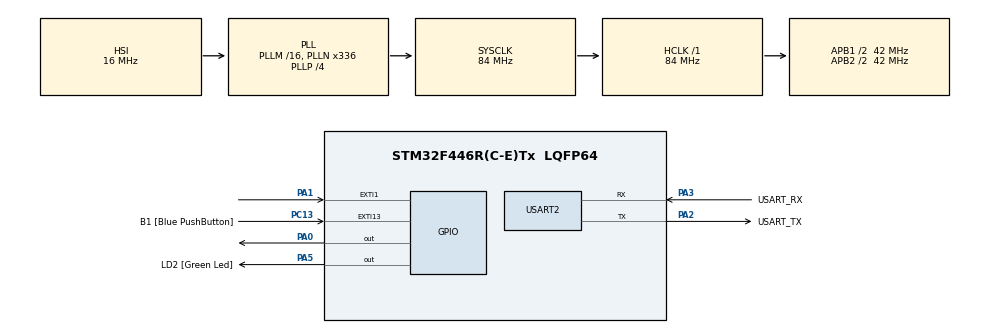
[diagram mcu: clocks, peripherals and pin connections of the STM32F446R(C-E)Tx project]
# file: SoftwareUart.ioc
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Mcu.Family=STM32F4
Mcu.Name=STM32F446R(C-E)Tx
Mcu.Package=LQFP64
NVIC.EXTI15_10_IRQn=true\:0\:0\:false\:false\:true\:true\:true
NVIC.EXTI1_IRQn=true\:0\:0\:false\:false\:true\:true\:true
NVIC.PriorityGroup=NVIC_PRIORITYGROUP_0
NVIC.TIM1_UP_TIM10_IRQn=true\:0\:0\:false\:false\:true\:true\:true
NVIC.TIM2_IRQn=true\:0\:0\:false\:false\:true\:true\:true
NVIC.USART2_IRQn=true\:0\:0\:false\:false\:true\:true\:true
PA0-WKUP.GPIO_PuPd=GPIO_NOPULL
PA0-WKUP.Signal=GPIO_Output
PA1.GPIO_ModeDefaultEXTI=GPIO_MODE_IT_FALLING
PA1.GPIO_PuPd=GPIO_PULLUP
PA1.Signal=GPXTI1
PA13.GPIO_Label=TMS
PA13.Mode=Serial_Wire
PA13.Signal=SYS_JTMS-SWDIO
PA14.GPIO_Label=TCK
PA14.Mode=Serial_Wire
PA14.Signal=SYS_JTCK-SWCLK
PA2.GPIO_Label=USART_TX
PA2.Mode=Asynchronous
PA2.Signal=USART2_TX
PA3.GPIO_Label=USART_RX
PA3.Mode=Asynchronous
PA3.Signal=USART2_RX
PA5.GPIO_Label=LD2 [Green Led]
PA5.Signal=GPIO_Output
PB3.GPIO_Label=SWO
PB3.Signal=SYS_JTDO-SWO
PC13.GPIO_Label=B1 [Blue PushButton]
PC13.GPIO_ModeDefaultEXTI=GPIO_MODE_IT_FALLING
PC13.Signal=GPXTI13
PC14-OSC32_IN.Mode=LSE-External-Oscillator
PC14-OSC32_IN.Signal=RCC_OSC32_IN
PC15-OSC32_OUT.Mode=LSE-External-Oscillator
PC15-OSC32_OUT.Signal=RCC_OSC32_OUT
PH0-OSC_IN.Mode=HSE-External-Oscillator
PH0-OSC_IN.Signal=RCC_OSC_IN
PH1-OSC_OUT.Mode=HSE-External-Oscillator
PH1-OSC_OUT.Signal=RCC_OSC_OUT
ProjectManager.HeapSize=0x200
ProjectManager.StackSize=0x400
ProjectManager.TargetToolchain=STM32CubeIDE
RCC.48MHZClocksFreq_Value=84000000
RCC.AHBFreq_Value=84000000
RCC.APB1CLKDivider=RCC_HCLK_DIV2
RCC.APB1Freq_Value=42000000
RCC.APB1TimFreq_Value=84000000
RCC.APB2CLKDivider=RCC_HCLK_DIV2
RCC.APB2Freq_Value=42000000
RCC.APB2TimFreq_Value=84000000
RCC.CortexFreq_Value=84000000
RCC.FLatency-AdvancedSettings=FLASH_LATENCY_2
RCC.HCLKFreq_Value=84000000
RCC.HSE_VALUE=8000000
RCC.HSI_VALUE=16000000
RCC.PLLN=336
RCC.PLLP=RCC_PLLP_DIV4
RCC.SYSCLKFreq_VALUE=84000000
RCC.SYSCLKSource=RCC_SYSCLKSOURCE_PLLCLK
RCC.USBFreq_Value=168000000
RCC.VCOOutputFreq_Value=336000000
TIM1.ClockDivision=TIM_CLOCKDIVISION_DIV1
TIM1.Period=6000
TIM1.Prescaler=84
TIM2.ClockDivision=TIM_CLOCKDIVISION_DIV1
TIM2.Period=6000
TIM2.Prescaler=84
USART2.Parity=PARITY_NONE
USART2.StopBits=STOPBITS_1
USART2.VirtualMode=VM_ASYNC
VP_TIM1_VS_ClockSourceINT.Mode=Internal
VP_TIM2_VS_ClockSourceINT.Mode=Internal
board=NUCLEO-F446RE

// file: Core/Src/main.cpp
/* USER CODE BEGIN Header */
/**
  ******************************************************************************
  * @file           : main.c
  * @brief          : Main program body
  ******************************************************************************
  * @attention
  *
  * Copyright (c) 2025 STMicroelectronics.
  * All rights reserved.
  *
  * This software is licensed under terms that can be found in the LICENSE file
  * in the root directory of this software component.
  * If no LICENSE file comes with this software, it is provided AS-IS.
  *
  ******************************************************************************
  */
/* USER CODE END Header */
#include "main.h"

/* USER CODE BEGIN Includes */
#include "RingBuffer.hpp"
#include "SoftUart.hpp"
//#include "Logger.hpp"
/* USER CODE END Includes */

TIM_HandleTypeDef htim1;
TIM_HandleTypeDef htim2;

UART_HandleTypeDef huart2;

void SystemClock_Config(void);
static void MX_GPIO_Init(void);
static void MX_USART2_UART_Init(void);
static void MX_TIM1_Init(void);
static void MX_TIM2_Init(void);
/* USER CODE BEGIN PFP */
#define PUTCHAR_PROTOTYPE int __io_putchar(int ch)
/* USER CODE END PFP */

/* USER CODE BEGIN 0 */
bool inputRxBitReadFunc(void);
void inputRxPinInterruptSetFunc(void);
void timerRxInitFunc(uint16_t timeout);
void timerRxStartFunc(void);
void stopRxInterruptionsFunc(void);
void outputTxBitSetFunc(bool);
void timerTxInitFunc(uint16_t timeout);
void timerTxStartFunc(void);
void timerTxStopFunc(void);
void timerRxStopFunc(void);
void loggerFunc(uint8_t byte);

SoftUart *softuart1 = new SoftUart(
        inputRxBitReadFunc,
        inputRxPinInterruptSetFunc,
        timerRxInitFunc,
        timerRxStartFunc,
        stopRxInterruptionsFunc,
        outputTxBitSetFunc,
        timerTxInitFunc,
        timerTxStartFunc,
        timerTxStopFunc,
        timerRxStopFunc
);
/* USER CODE END 0 */

int main(void)
{

  /* MCU Configuration--------------------------------------------------------*/

  /* Reset of all peripherals, Initializes the Flash interface and the Systick. */
  HAL_Init();

  /* Configure the system clock */
  SystemClock_Config();

  /* Initialize all configured peripherals */
  MX_GPIO_Init();
  MX_USART2_UART_Init();
  MX_TIM1_Init();
  MX_TIM2_Init();

  /* Infinite loop */
  /* USER CODE BEGIN WHILE */
 RingBuffer buffer;

 SoftUart::SoftUartParity_t parity = SoftUart::SOFT_UART_PARITY_ON;
 SoftUart::SoftUartSpeed_t speed = SoftUart::SOFT_UART_9600;

 //softuart1->start_rx_uart();
timerTxStopFunc();
timerRxStopFunc();

 //GPIO_PIN_RESET = 0,
  //GPIO_PIN_SET
 HAL_Delay(100);

 softuart1->uart_init(speed, parity);
 softuart1->uart_send(0b11111111);

 HAL_Delay(10);
 softuart1->start_rx_uart();
 softuart1->uart_send('1');
 HAL_Delay(10);
 softuart1->uart_send('2');
 HAL_Delay(10);
 softuart1->uart_send('f');

  while (1)
  {
      // Toggle the LD2 pin (PA5)
      //HAL_GPIO_TogglePin(GPIOA, GPIO_PIN_5);
      // Delay for a short period to make the blinking visible
      HAL_Delay(500); // Delay for 500 milliseconds
      //HAL_UART_Transmit(&huart2, (uint8_t*)"Hello world!\n", 13, 1000);
      softuart1->uart_send('1');

    /* USER CODE END WHILE */

  }
}

void SystemClock_Config(void)
{
  RCC_OscInitTypeDef RCC_OscInitStruct = {0};
  RCC_ClkInitTypeDef RCC_ClkInitStruct = {0};

  /** Configure the main internal regulator output voltage
  */
  __HAL_RCC_PWR_CLK_ENABLE();
  __HAL_PWR_VOLTAGESCALING_CONFIG(PWR_REGULATOR_VOLTAGE_SCALE3);
  /** Initializes the RCC Oscillators according to the specified parameters
  * in the RCC_OscInitTypeDef structure.
  */
  RCC_OscInitStruct.OscillatorType = RCC_OSCILLATORTYPE_HSI;
  RCC_OscInitStruct.HSIState = RCC_HSI_ON;
  RCC_OscInitStruct.HSICalibrationValue = RCC_HSICALIBRATION_DEFAULT;
  RCC_OscInitStruct.PLL.PLLState = RCC_PLL_ON;
  RCC_OscInitStruct.PLL.PLLSource = RCC_PLLSOURCE_HSI;
  RCC_OscInitStruct.PLL.PLLM = 16;
  RCC_OscInitStruct.PLL.PLLN = 336;
  RCC_OscInitStruct.PLL.PLLP = RCC_PLLP_DIV4;
  RCC_OscInitStruct.PLL.PLLQ = 2;
  RCC_OscInitStruct.PLL.PLLR = 2;
  if (HAL_RCC_OscConfig(&RCC_OscInitStruct) != HAL_OK)
  {
    Error_Handler();
  }
  /** Initializes the CPU, AHB and APB buses clocks
  */
  RCC_ClkInitStruct.ClockType = RCC_CLOCKTYPE_HCLK|RCC_CLOCKTYPE_SYSCLK
                              |RCC_CLOCKTYPE_PCLK1|RCC_CLOCKTYPE_PCLK2;
  RCC_ClkInitStruct.SYSCLKSource = RCC_SYSCLKSOURCE_PLLCLK;
  RCC_ClkInitStruct.AHBCLKDivider = RCC_SYSCLK_DIV1;
  RCC_ClkInitStruct.APB1CLKDivider = RCC_HCLK_DIV2;
  RCC_ClkInitStruct.APB2CLKDivider = RCC_HCLK_DIV2;

  if (HAL_RCC_ClockConfig(&RCC_ClkInitStruct, FLASH_LATENCY_2) != HAL_OK)
  {
    Error_Handler();
  }
}

static void MX_TIM1_Init(void)
{

  TIM_ClockConfigTypeDef sClockSourceConfig = {0};
  TIM_MasterConfigTypeDef sMasterConfig = {0};

  htim1.Instance = TIM1;
  htim1.Init.Prescaler = 84;
  htim1.Init.CounterMode = TIM_COUNTERMODE_UP;
  htim1.Init.Period = 6000;
  htim1.Init.ClockDivision = TIM_CLOCKDIVISION_DIV1;
  htim1.Init.RepetitionCounter = 0;
  htim1.Init.AutoReloadPreload = TIM_AUTORELOAD_PRELOAD_DISABLE;
  if (HAL_TIM_Base_Init(&htim1) != HAL_OK)
  {
    Error_Handler();
  }
  sClockSourceConfig.ClockSource = TIM_CLOCKSOURCE_INTERNAL;
  if (HAL_TIM_ConfigClockSource(&htim1, &sClockSourceConfig) != HAL_OK)
  {
    Error_Handler();
  }
  sMasterConfig.MasterOutputTrigger = TIM_TRGO_RESET;
  sMasterConfig.MasterSlaveMode = TIM_MASTERSLAVEMODE_DISABLE;
  if (HAL_TIMEx_MasterConfigSynchronization(&htim1, &sMasterConfig) != HAL_OK)
  {
    Error_Handler();
  }

}

static void MX_TIM2_Init(void)
{

  TIM_ClockConfigTypeDef sClockSourceConfig = {0};
  TIM_MasterConfigTypeDef sMasterConfig = {0};

  htim2.Instance = TIM2;
  htim2.Init.Prescaler = 84;
  htim2.Init.CounterMode = TIM_COUNTERMODE_UP;
  htim2.Init.Period = 6000;
  htim2.Init.ClockDivision = TIM_CLOCKDIVISION_DIV1;
  htim2.Init.AutoReloadPreload = TIM_AUTORELOAD_PRELOAD_DISABLE;
  if (HAL_TIM_Base_Init(&htim2) != HAL_OK)
  {
    Error_Handler();
  }
  sClockSourceConfig.ClockSource = TIM_CLOCKSOURCE_INTERNAL;
  if (HAL_TIM_ConfigClockSource(&htim2, &sClockSourceConfig) != HAL_OK)
  {
    Error_Handler();
  }
  sMasterConfig.MasterOutputTrigger = TIM_TRGO_RESET;
  sMasterConfig.MasterSlaveMode = TIM_MASTERSLAVEMODE_DISABLE;
  if (HAL_TIMEx_MasterConfigSynchronization(&htim2, &sMasterConfig) != HAL_OK)
  {
    Error_Handler();
  }

}

static void MX_USART2_UART_Init(void)
{

  huart2.Instance = USART2;
  huart2.Init.BaudRate = 115200;
  huart2.Init.WordLength = UART_WORDLENGTH_8B;
  huart2.Init.StopBits = UART_STOPBITS_1;
  huart2.Init.Parity = UART_PARITY_NONE;
  huart2.Init.Mode = UART_MODE_TX_RX;
  huart2.Init.HwFlowCtl = UART_HWCONTROL_NONE;
  huart2.Init.OverSampling = UART_OVERSAMPLING_16;
  if (HAL_UART_Init(&huart2) != HAL_OK)
  {
    Error_Handler();
  }

}

static void MX_GPIO_Init(void)
{
  GPIO_InitTypeDef GPIO_InitStruct = {0};

  /* GPIO Ports Clock Enable */
  __HAL_RCC_GPIOC_CLK_ENABLE();
  __HAL_RCC_GPIOH_CLK_ENABLE();
  __HAL_RCC_GPIOA_CLK_ENABLE();
  __HAL_RCC_GPIOB_CLK_ENABLE();

  /*Configure GPIO pin Output Level */
  HAL_GPIO_WritePin(GPIOA, GPIO_PIN_0|LD2_Pin, GPIO_PIN_RESET);

  /*Configure GPIO pin : B1_Pin */
  GPIO_InitStruct.Pin = B1_Pin;
  GPIO_InitStruct.Mode = GPIO_MODE_IT_FALLING;
  GPIO_InitStruct.Pull = GPIO_NOPULL;
  HAL_GPIO_Init(B1_GPIO_Port, &GPIO_InitStruct);

  /*Configure GPIO pins : PA0 LD2_Pin */
  GPIO_InitStruct.Pin = GPIO_PIN_0|LD2_Pin;
  GPIO_InitStruct.Mode = GPIO_MODE_OUTPUT_PP;
  GPIO_InitStruct.Pull = GPIO_NOPULL;
  GPIO_InitStruct.Speed = GPIO_SPEED_FREQ_LOW;
  HAL_GPIO_Init(GPIOA, &GPIO_InitStruct);

  /*Configure GPIO pin : PA1 */
  GPIO_InitStruct.Pin = GPIO_PIN_1;
  GPIO_InitStruct.Mode = GPIO_MODE_IT_FALLING;
  GPIO_InitStruct.Pull = GPIO_PULLUP;
  HAL_GPIO_Init(GPIOA, &GPIO_InitStruct);

  /* EXTI interrupt init*/
  HAL_NVIC_SetPriority(EXTI1_IRQn, 0, 0);
  HAL_NVIC_EnableIRQ(EXTI1_IRQn);

  HAL_NVIC_SetPriority(EXTI15_10_IRQn, 0, 0);
  HAL_NVIC_EnableIRQ(EXTI15_10_IRQn);

}

/* USER CODE BEGIN 4 */
void HAL_TIM_PeriodElapsedCallback(TIM_HandleTypeDef *htim) {
        if(htim->Instance == TIM1) //check if the interrupt comes from TIM1
        {
            softuart1->tx_bit_timer_handler();
        } else if (htim->Instance == TIM2) {
            softuart1->rx_bit_timer_handler(inputRxBitReadFunc());
        }
}

void HAL_GPIO_EXTI_Callback(uint16_t GPIO_Pin) {
    if ( GPIO_Pin == GPIO_PIN_13) {
    } else if ( GPIO_Pin == GPIO_PIN_1) {
        softuart1->rx_start_event_pin_handler();
    }
}

bool inputRxBitReadFunc(void) {
    GPIO_PinState pin = HAL_GPIO_ReadPin (GPIOA, GPIO_PIN_1);
    return pin;
}
void inputRxPinInterruptSetFunc(void) {
    HAL_NVIC_EnableIRQ(EXTI1_IRQn);
}
void timerRxInitFunc(uint16_t timeout) {
    HAL_TIM_Base_Stop_IT(&htim2);
    __HAL_TIM_SET_AUTORELOAD(&htim2, timeout);
    __HAL_TIM_SET_COUNTER(&htim2, 0);
}
void timerRxStartFunc(void) {
    __HAL_TIM_SET_COUNTER(&htim2, 0);
    HAL_TIM_Base_Start_IT(&htim2);
}
void stopRxInterruptionsFunc(void) {
    HAL_NVIC_DisableIRQ(EXTI1_IRQn);
}
void outputTxBitSetFunc(bool state) {
    HAL_GPIO_WritePin(GPIOA, GPIO_PIN_0, (GPIO_PinState)state);
}
void timerTxInitFunc(uint16_t timeout) {
    HAL_TIM_Base_Stop_IT(&htim1);
    __HAL_TIM_SET_AUTORELOAD(&htim1, timeout);
    __HAL_TIM_SET_COUNTER(&htim1, 0);
}
void timerTxStartFunc(void) {
    __HAL_TIM_SET_COUNTER(&htim1, 0);
    HAL_TIM_Base_Start_IT(&htim1);
}
void timerTxStopFunc(void) {
    HAL_TIM_Base_Stop_IT(&htim1);
    __HAL_TIM_SET_COUNTER(&htim1, 0);
}
void timerRxStopFunc(void) {
    HAL_TIM_Base_Stop_IT(&htim2);
    __HAL_TIM_SET_COUNTER(&htim2, 0);
}

void loggerFunc(uint8_t byte)
{
    HAL_UART_Transmit(&huart2, &byte, 1, 1000);
}
/* USER CODE END 4 */

void Error_Handler(void)
{
  __disable_irq();
  while (1)
  {
  }
}
